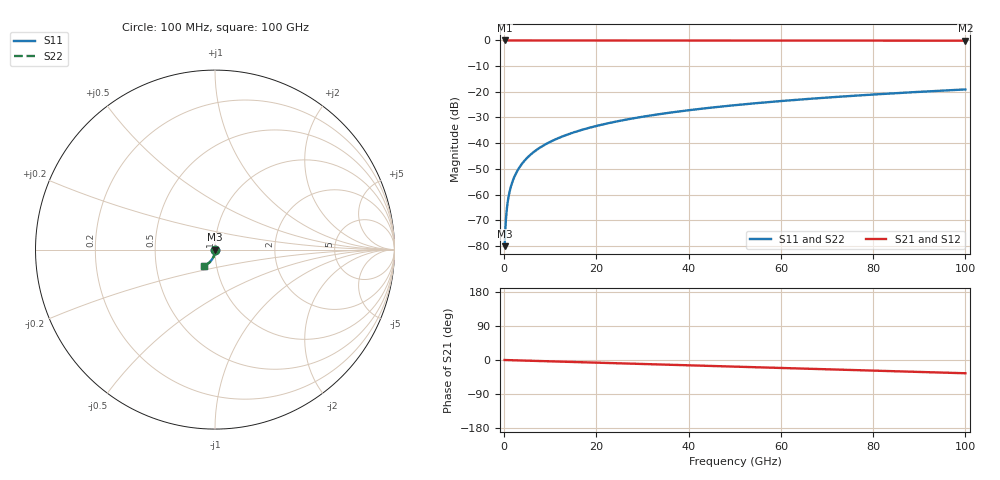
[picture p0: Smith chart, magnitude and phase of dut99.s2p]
! Touchstone file exported from HFSS 2026.1.0
!  File:  C:/ffzhzh/LocalFiles/Ansys_Project_Files/temp_train_TSV_99_1783505747_9504.aedt
!  Generated:  06:16:57 PM Jul  8, 2026
!  Design:  TSV
!  Project:  temp_train_TSV_99_1783505747_9504
! Variables:
!  h_bsmrdl = 2um
!  h_ox = 20um
!  h_rdl = 5um
!  h_sub = 67.51um
!  h_tmrdl = 5um
!  h_tsv = 67.51um
!  h_via = 3um
!  l_bsmrdl = 300um
!  l_sub = 429um
!  l_tmrdl = 200um
!  m_sub = 200um
!  pitch = 48.8um
!  r_tsv = 14.5um
!  s_tmrdl = 10um
!  w_bsmrdl = 18um
!  w_sub = 500um
!  w_tmrdl = 12um
!  x_tsv_center1 = 206um
!  x_tsv_center2 = 524um
!  x_tsv_center3 = 736um
!  x_tsv_center4 = 1054um
!  x_tsv_center5 = 1266um
!  x_tsv_center6 = 1584um
# GHz S MA R 50.000000
! Terminal data exported
! Port[1] = TSV1_1_T1
! Port[2] = TSV1_1_T2
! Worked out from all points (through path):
!   1000 points, 100 MHz to 100 GHz, reference 50 ohm
!   highest |S21| = 0.00 dB at 100 MHz (marker M1); lowest = -0.1 dB at 100 GHz (marker M2)
!   group delay of S21, straight-line fit = 971 fs
!   lowest |S11| = -80.1 dB at 100 MHz (marker M3), VSWR 1.00, Z = 50 - j0.00718 ohm
!   |S11| at or under -10 dB: start of sweep to end of sweep
!   |S22| runs from -80.1 to -19.1 dB; largest |S21 - S12| = 2.1e-15
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0.1  9.868e-05 -46.7  0.9999 -0.0  0.9999 -0.0  9.868e-05 -46.7
! Gamma 0 0 0 0
! Port Impedance 50 0 50 0
0.4  0.0003429 -69.9  0.9999 -0.1  0.9999 -0.1  0.0003429 -69.9
0.7  0.0006392 -75.0  0.9998 -0.3  0.9998 -0.3  0.0006392 -75.0
0.8  0.0007413 -76.2  0.9998 -0.3  0.9998 -0.3  0.0007413 -76.2
1.1  0.00105 -78.8  0.9998 -0.4  0.9998 -0.4  0.00105 -78.8
1.4  0.001361 -80.5  0.9998 -0.5  0.9998 -0.5  0.001361 -80.6
1.8  0.001777 -82.1  0.9997 -0.6  0.9997 -0.6  0.001777 -82.1
2.4  0.002406 -83.6  0.9997 -0.9  0.9997 -0.9  0.002406 -83.6
3  0.003042 -84.6  0.9997 -1.1  0.9997 -1.1  0.003042 -84.6
3.8  0.003898 -85.6  0.9996 -1.3  0.9996 -1.3  0.003898 -85.6
4.8  0.004975 -86.7  0.9996 -1.7  0.9996 -1.7  0.004975 -86.7
5.9  0.006166 -87.6  0.9995 -2.1  0.9995 -2.1  0.006166 -87.6
8.7  0.009209 -89.4  0.9994 -3.1  0.9994 -3.1  0.009209 -89.4
12.3  0.01315 -91.2  0.9992 -4.3  0.9992 -4.3  0.01315 -91.2
16.8  0.0181 -93.3  0.999 -5.9  0.999 -5.9  0.01809 -93.3
24.1  0.02614 -96.3  0.9987 -8.4  0.9987 -8.4  0.02614 -96.3
33.4  0.03644 -99.8  0.9981 -11.7  0.9981 -11.7  0.03644 -99.8
41.2  0.0451 -102.8  0.9977 -14.4  0.9977 -14.4  0.0451 -102.8
50.1  0.055 -106.0  0.997 -17.5  0.997 -17.5  0.055 -106.0
66.7  0.07355 -112.1  0.9955 -23.3  0.9955 -23.3  0.07354 -112.1
83.4  0.09233 -118.1  0.9937 -29.2  0.9937 -29.2  0.09233 -118.1
100  0.1112 -124.1  0.9914 -35.0  0.9914 -35.0  0.1112 -124.2
